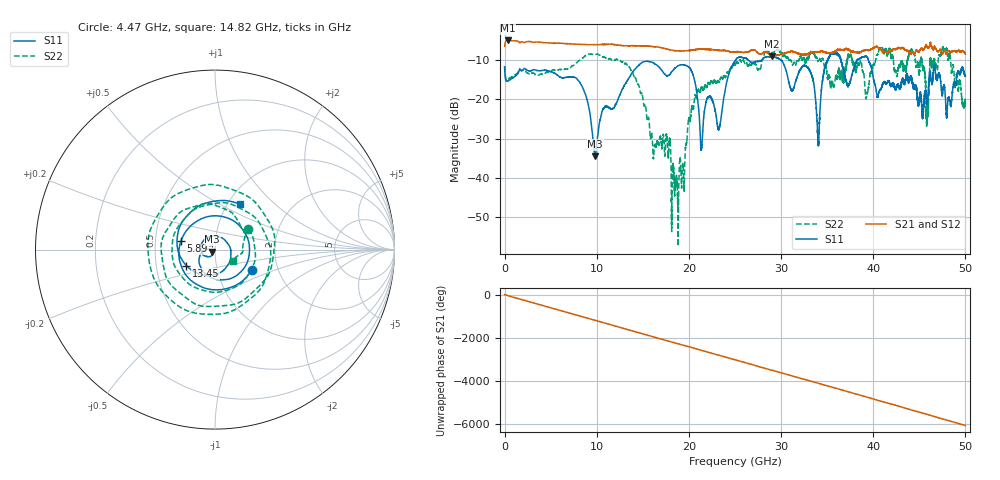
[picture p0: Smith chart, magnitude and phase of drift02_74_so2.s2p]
!Created with skrf (http://scikit-rf.org).
# Hz S RI R 50.0
!freq ReS11 ImS11 ReS21 ImS21 ReS12 ImS12 ReS22 ImS22
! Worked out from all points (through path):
!   10001 points, 300 kHz to 50 GHz, reference 50 ohm
!   highest |S21| = -5.04 dB at 325.3 MHz (marker M1); lowest = -9.0 dB at 29.01 GHz (marker M2)
!   group delay of S21, straight-line fit = 336 ps
!   lowest |S11| = -34.5 dB at 9.84 GHz (marker M3), VSWR 1.04, Z = 48.5 - j1.04 ohm
!   |S11| at or under -10 dB: start of sweep to 25.08 GHz; 29.98 GHz to 35.04 GHz (5.061 GHz wide, 15.6 % of centre); 39.48 GHz to end of sweep (the widest 3 of 8)
!   |S22| runs from -57.4 to -6.7 dB; largest |S21 - S12| = 0.022
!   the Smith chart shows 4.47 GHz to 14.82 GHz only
!   S11 on the Smith chart (normalised r, x): 4.47 GHz: 1.46, -0.35; 5.89 GHz: 0.68, +0.07; 13.45 GHz: 0.71, -0.13; 14.82 GHz: 1.13, +0.63
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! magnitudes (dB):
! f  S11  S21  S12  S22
! 300 kHz  -11.7  -6.5  -6.5  -11.6
! 325.3 MHz  -15.4  -5.0  -5.0  -15.0
! 4.47 GHz  -12.6  -5.6  -5.6  -13.2
! 5.89 GHz  -14.2  -5.7  -5.7  -12.5
! 8.335 GHz  -16.4  -6.0  -6.0  -9.6
! 9.84 GHz  -34.5  -6.1  -6.1  -8.5
! 13.45 GHz  -14.8  -6.4  -6.4  -11.6
! 14.82 GHz  -10.8  -6.4  -6.4  -18.5
! 16.67 GHz  -11.6  -6.7  -6.7  -31.3
! 18.66 GHz  -11.8  -7.7  -7.7  -40.3
! 20.37 GHz  -13.3  -7.5  -7.5  -21.9
! 21.37 GHz  -32.2  -7.2  -7.2  -16.9
! 23.31 GHz  -27.2  -7.5  -7.6  -15.6
! 25 GHz  -10.3  -8.0  -8.0  -11.2
! 29.01 GHz  -9.1  -9.0  -9.0  -8.2
! 33.34 GHz  -14.0  -8.1  -8.1  -8.1
! 34.02 GHz  -31.0  -7.9  -7.9  -10.2
! 35.51 GHz  -8.4  -8.1  -8.1  -15.4
! 41.67 GHz  -15.3  -7.7  -7.7  -7.6
! 45.86 GHz  -21.0  -6.7  -6.8  -21.3
! 47.77 GHz  -17.7  -7.6  -7.6  -7.3
! 50 GHz  -14.1  -8.4  -8.4  -20.1
